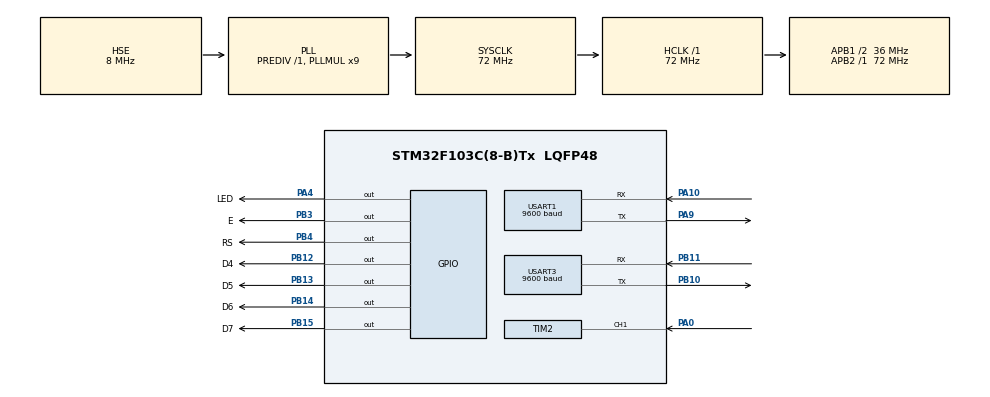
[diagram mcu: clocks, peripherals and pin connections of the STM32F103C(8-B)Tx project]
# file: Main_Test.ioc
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Mcu.Family=STM32F1
Mcu.Name=STM32F103C(8-B)Tx
Mcu.Package=LQFP48
NVIC.PriorityGroup=NVIC_PRIORITYGROUP_4
NVIC.TIM2_IRQn=true\:0\:0\:false\:false\:true\:true\:true
PA0-WKUP.Signal=S_TIM2_CH1_ETR
PA10.Mode=Asynchronous
PA10.Signal=USART1_RX
PA13.Mode=Serial_Wire
PA13.Signal=SYS_JTMS-SWDIO
PA14.Mode=Serial_Wire
PA14.Signal=SYS_JTCK-SWCLK
PA4.GPIO_Label=LED
PA4.Signal=GPIO_Output
PA9.Mode=Asynchronous
PA9.Signal=USART1_TX
PB10.Mode=Asynchronous
PB10.Signal=USART3_TX
PB11.Mode=Asynchronous
PB11.Signal=USART3_RX
PB12.GPIO_Label=D4
PB12.GPIO_Speed=GPIO_SPEED_FREQ_MEDIUM
PB12.Signal=GPIO_Output
PB13.GPIO_Label=D5
PB13.GPIO_Speed=GPIO_SPEED_FREQ_MEDIUM
PB13.Signal=GPIO_Output
PB14.GPIO_Label=D6
PB14.GPIO_Speed=GPIO_SPEED_FREQ_MEDIUM
PB14.Signal=GPIO_Output
PB15.GPIO_Label=D7
PB15.GPIO_Speed=GPIO_SPEED_FREQ_MEDIUM
PB15.Signal=GPIO_Output
PB3.GPIO_Label=E
PB3.GPIO_Speed=GPIO_SPEED_FREQ_MEDIUM
PB3.Signal=GPIO_Output
PB4.GPIO_Label=RS
PB4.GPIO_Speed=GPIO_SPEED_FREQ_MEDIUM
PB4.Signal=GPIO_Output
PD0-OSC_IN.Mode=HSE-External-Oscillator
PD0-OSC_IN.Signal=RCC_OSC_IN
PD1-OSC_OUT.Mode=HSE-External-Oscillator
PD1-OSC_OUT.Signal=RCC_OSC_OUT
ProjectManager.HeapSize=0x200
ProjectManager.StackSize=0x400
ProjectManager.TargetToolchain=MDK-ARM V5
RCC.AHBFreq_Value=72000000
RCC.APB1CLKDivider=RCC_HCLK_DIV2
RCC.APB1Freq_Value=36000000
RCC.APB1TimFreq_Value=72000000
RCC.APB2Freq_Value=72000000
RCC.APB2TimFreq_Value=72000000
RCC.HCLKFreq_Value=72000000
RCC.PLLMUL=RCC_PLL_MUL9
RCC.PLLSourceVirtual=RCC_PLLSOURCE_HSE
RCC.SYSCLKFreq_VALUE=72000000
RCC.SYSCLKSource=RCC_SYSCLKSOURCE_PLLCLK
RCC.USBFreq_Value=72000000
SH.S_TIM2_CH1_ETR.0=TIM2_CH1,Input_Capture1_from_TI1
TIM2.AutoReloadPreload=TIM_AUTORELOAD_PRELOAD_ENABLE
TIM2.Channel-Input_Capture1_from_TI1=TIM_CHANNEL_1
TIM2.ICFilter_CH1=15
TIM2.ICPrescaler-Input_Capture1_from_TI1=TIM_ICPSC_DIV2
TIM2.Prescaler=1
USART1.BaudRate=9600
USART1.VirtualMode=VM_ASYNC
USART3.BaudRate=9600
USART3.VirtualMode=VM_ASYNC
VP_TIM2_VS_ClockSourceINT.Mode=Internal
board=custom

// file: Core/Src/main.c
/* USER CODE BEGIN Header */
/**
  ******************************************************************************
  * @file           : main.c
  * @brief          : Main program body
  ******************************************************************************
  * @attention
  *
  * <h2><center>&copy; Copyright (c) 2021 STMicroelectronics.
  * All rights reserved.</center></h2>
  *
  * This software component is licensed by ST under BSD 3-Clause license,
  * the "License"; You may not use this file except in compliance with the
  * License. You may obtain a copy of the License at:
  *                        opensource.org/licenses/BSD-3-Clause
  *
  ******************************************************************************
  */
/* USER CODE END Header */
#include "main.h"

/* USER CODE BEGIN Includes */

#include <stdio.h>
#include <stdlib.h>
#include <math.h>
#include "lcd16x2.h"

/* USER CODE END Includes */

/* USER CODE BEGIN PD */

#define IDLE   0
#define DONE   1
#define F_CLK  72000000UL
//#define TIM2_ARR 65536
const uint8_t TIM2_ARR = 2;
//#define Timer2_PSC 2
const uint8_t Timer_PSC = 2;
//const uint32_t R1 = 100*1000;
const uint32_t R1 = 96.95*1000;
//const uint32_t R2 = 150*1000;
const uint32_t R2 = 152.12*1000;
//const uint32_t const_Cap = 3300;
const uint32_t const_Cap = 970;
const float cap_0 = 90.97;
const float first_term_landa = 731.97;

/* USER CODE END PD */

TIM_HandleTypeDef htim2;

UART_HandleTypeDef huart1;
UART_HandleTypeDef huart3;

void SystemClock_Config(void);
static void MX_GPIO_Init(void);
static void MX_TIM2_Init(void);
static void MX_USART1_UART_Init(void);
static void MX_USART3_UART_Init(void);

/* USER CODE BEGIN 0 */

//Printf Function BEGIN
#ifdef __GNUC__
#define PUTCHAR_PROTOTYPE int __io_putchar(int ch)
#else
#define PUTCHAR_PROTOTYPE int fputc(int ch, FILE *f)
#endif
PUTCHAR_PROTOTYPE
{
  HAL_UART_Transmit(&huart3, (uint8_t *)&ch, 1, 0xFFFF);
  return ch;
}
//Printf Function END

//Comperator Function BEGIN
int cmpfunc (const void * a, const void * b)
{
   return ( *(uint32_t*)a - *(uint32_t*)b );
}
//Comperator Function END

//Variables BEGIN
volatile uint8_t State = IDLE;
volatile uint32_t T1 = 0;
volatile uint32_t T2 = 0;
volatile uint32_t ticks = 0;
volatile uint16_t TIM2_OVC = 0;
volatile uint32_t freq = 0;
volatile uint32_t temp_freq = 0;
volatile uint32_t used_freq = 0;
volatile uint32_t frequency = 0;
volatile uint32_t sum_frequency = 0;
volatile uint32_t avg_frequency = 0;
volatile uint32_t data_index = 0;
volatile uint8_t indexer = 0;
volatile uint8_t buffer_index = 0;
uint32_t freq_buffer[5];
uint32_t freq_avg[100];
volatile uint8_t avg_index = 0;
volatile float capacitor = 0;
volatile float height = 0;
//Variables END

float Calc_Cap ( uint32_t input_freq )
{
	uint32_t resistor = ( R1 + 2*R2 );
	float cap = (1.44 * pow(10,12) ) / ( input_freq * resistor );
	return cap;
}

float Calc_Height ( float input_cap )
{
	float landa =  (input_cap - const_Cap - cap_0) / first_term_landa;
	return landa*100 ;
}

/* USER CODE END 0 */

int main(void)
{

  /* MCU Configuration--------------------------------------------------------*/

  /* Reset of all peripherals, Initializes the Flash interface and the Systick. */
  HAL_Init();

  /* Configure the system clock */
  SystemClock_Config();

  /* Initialize all configured peripherals */
  MX_GPIO_Init();
  MX_TIM2_Init();
  MX_USART1_UART_Init();
  MX_USART3_UART_Init();
  /* USER CODE BEGIN 2 */

	//Timer Start BEGIN
	HAL_TIM_Base_Start_IT(&htim2);
	HAL_TIM_IC_Start_IT(&htim2,TIM_CHANNEL_1);
	//Timer Start END

	//LCD Init BEGIN
	//lcd16x2_init_4bits(RS_GPIO_Port,RS_Pin,E_Pin,D4_GPIO_Port,D4_Pin,D5_Pin,D6_Pin,D7_Pin);
	//lcd16x2_printf("Hello");
	//HAL_Delay(10000);
	//LCD Init END

  /* USER CODE END 2 */

  /* Infinite loop */
  /* USER CODE BEGIN WHILE */
  while (1)
  {
		used_freq = temp_freq;
		//printf("Used_Freq is: %d Hz ----- \n\r" , used_freq);

		freq_buffer [buffer_index] = used_freq;
		HAL_Delay(1);
		buffer_index++;

		if ( buffer_index == 5 )
		{
			qsort(freq_buffer, 5, sizeof(int), cmpfunc);
			frequency =  ( ( freq_buffer[1] + freq_buffer[2] + freq_buffer[3] ) / 3 );
			//freq_avg[avg_index] = frequency;
			sum_frequency += frequency;
			avg_index++;

			if ( avg_index == 100 )
			{
				data_index++;
				printf("data: %d ----" , data_index);
				avg_frequency = sum_frequency/100;
				printf("avg_frequency is: %d Hz -----" , avg_frequency);
				capacitor = Calc_Cap ( avg_frequency );
				height = Calc_Height ( capacitor );
				printf("capacitor is: %f pF -----" , capacitor);
				printf("height is: %d cm \n\r" , (int)height);
				avg_index = 0;
				sum_frequency = 0;
				HAL_GPIO_TogglePin(LED_GPIO_Port,LED_Pin);
				HAL_Delay(50);
			}

			//printf("frequency is: %d Hz -----" , frequency);
			//capacitor = Calc_Cap ( frequency );
			//height = Calc_Height ( capacitor );
			//printf("capacitor is: %f pF -----" , capacitor);
			//printf("height is: %d cm \n\r" , (int)height);

			buffer_index = 0;
			uint8_t i = 0;
			while ( i < 5 )
			{
				freq_buffer [i] = 0;
				i++;
			}
		}

		//lcd16x2_1stLine();
		//lcd16x2_printf("Temp_Freq is: %f \n\r" , Temp_Freq);
		//lcd16x2_printf("Hello Amir!! \n\r");

		//lcd16x2_clear();

    /* USER CODE END WHILE */

  }
}

void SystemClock_Config(void)
{
  RCC_OscInitTypeDef RCC_OscInitStruct = {0};
  RCC_ClkInitTypeDef RCC_ClkInitStruct = {0};

  /** Initializes the RCC Oscillators according to the specified parameters
  * in the RCC_OscInitTypeDef structure.
  */
  RCC_OscInitStruct.OscillatorType = RCC_OSCILLATORTYPE_HSE;
  RCC_OscInitStruct.HSEState = RCC_HSE_ON;
  RCC_OscInitStruct.HSEPredivValue = RCC_HSE_PREDIV_DIV1;
  RCC_OscInitStruct.HSIState = RCC_HSI_ON;
  RCC_OscInitStruct.PLL.PLLState = RCC_PLL_ON;
  RCC_OscInitStruct.PLL.PLLSource = RCC_PLLSOURCE_HSE;
  RCC_OscInitStruct.PLL.PLLMUL = RCC_PLL_MUL9;
  if (HAL_RCC_OscConfig(&RCC_OscInitStruct) != HAL_OK)
  {
    Error_Handler();
  }
  /** Initializes the CPU, AHB and APB buses clocks
  */
  RCC_ClkInitStruct.ClockType = RCC_CLOCKTYPE_HCLK|RCC_CLOCKTYPE_SYSCLK
                              |RCC_CLOCKTYPE_PCLK1|RCC_CLOCKTYPE_PCLK2;
  RCC_ClkInitStruct.SYSCLKSource = RCC_SYSCLKSOURCE_PLLCLK;
  RCC_ClkInitStruct.AHBCLKDivider = RCC_SYSCLK_DIV1;
  RCC_ClkInitStruct.APB1CLKDivider = RCC_HCLK_DIV2;
  RCC_ClkInitStruct.APB2CLKDivider = RCC_HCLK_DIV1;

  if (HAL_RCC_ClockConfig(&RCC_ClkInitStruct, FLASH_LATENCY_2) != HAL_OK)
  {
    Error_Handler();
  }
}

static void MX_TIM2_Init(void)
{

  TIM_ClockConfigTypeDef sClockSourceConfig = {0};
  TIM_MasterConfigTypeDef sMasterConfig = {0};
  TIM_IC_InitTypeDef sConfigIC = {0};

  htim2.Instance = TIM2;
  htim2.Init.Prescaler = 1;
  htim2.Init.CounterMode = TIM_COUNTERMODE_UP;
  htim2.Init.Period = 65535;
  htim2.Init.ClockDivision = TIM_CLOCKDIVISION_DIV1;
  htim2.Init.AutoReloadPreload = TIM_AUTORELOAD_PRELOAD_ENABLE;
  if (HAL_TIM_Base_Init(&htim2) != HAL_OK)
  {
    Error_Handler();
  }
  sClockSourceConfig.ClockSource = TIM_CLOCKSOURCE_INTERNAL;
  if (HAL_TIM_ConfigClockSource(&htim2, &sClockSourceConfig) != HAL_OK)
  {
    Error_Handler();
  }
  if (HAL_TIM_IC_Init(&htim2) != HAL_OK)
  {
    Error_Handler();
  }
  sMasterConfig.MasterOutputTrigger = TIM_TRGO_RESET;
  sMasterConfig.MasterSlaveMode = TIM_MASTERSLAVEMODE_DISABLE;
  if (HAL_TIMEx_MasterConfigSynchronization(&htim2, &sMasterConfig) != HAL_OK)
  {
    Error_Handler();
  }
  sConfigIC.ICPolarity = TIM_INPUTCHANNELPOLARITY_RISING;
  sConfigIC.ICSelection = TIM_ICSELECTION_DIRECTTI;
  sConfigIC.ICPrescaler = TIM_ICPSC_DIV2;
  sConfigIC.ICFilter = 15;
  if (HAL_TIM_IC_ConfigChannel(&htim2, &sConfigIC, TIM_CHANNEL_1) != HAL_OK)
  {
    Error_Handler();
  }

}

static void MX_USART1_UART_Init(void)
{

  huart1.Instance = USART1;
  huart1.Init.BaudRate = 9600;
  huart1.Init.WordLength = UART_WORDLENGTH_8B;
  huart1.Init.StopBits = UART_STOPBITS_1;
  huart1.Init.Parity = UART_PARITY_NONE;
  huart1.Init.Mode = UART_MODE_TX_RX;
  huart1.Init.HwFlowCtl = UART_HWCONTROL_NONE;
  huart1.Init.OverSampling = UART_OVERSAMPLING_16;
  if (HAL_UART_Init(&huart1) != HAL_OK)
  {
    Error_Handler();
  }

}

static void MX_USART3_UART_Init(void)
{

  huart3.Instance = USART3;
  huart3.Init.BaudRate = 9600;
  huart3.Init.WordLength = UART_WORDLENGTH_8B;
  huart3.Init.StopBits = UART_STOPBITS_1;
  huart3.Init.Parity = UART_PARITY_NONE;
  huart3.Init.Mode = UART_MODE_TX_RX;
  huart3.Init.HwFlowCtl = UART_HWCONTROL_NONE;
  huart3.Init.OverSampling = UART_OVERSAMPLING_16;
  if (HAL_UART_Init(&huart3) != HAL_OK)
  {
    Error_Handler();
  }

}

static void MX_GPIO_Init(void)
{
  GPIO_InitTypeDef GPIO_InitStruct = {0};

  /* GPIO Ports Clock Enable */
  __HAL_RCC_GPIOD_CLK_ENABLE();
  __HAL_RCC_GPIOA_CLK_ENABLE();
  __HAL_RCC_GPIOB_CLK_ENABLE();

  /*Configure GPIO pin Output Level */
  HAL_GPIO_WritePin(LED_GPIO_Port, LED_Pin, GPIO_PIN_RESET);

  /*Configure GPIO pin Output Level */
  HAL_GPIO_WritePin(GPIOB, D4_Pin|D5_Pin|D6_Pin|D7_Pin
                          |E_Pin|RS_Pin, GPIO_PIN_RESET);

  /*Configure GPIO pin : LED_Pin */
  GPIO_InitStruct.Pin = LED_Pin;
  GPIO_InitStruct.Mode = GPIO_MODE_OUTPUT_PP;
  GPIO_InitStruct.Pull = GPIO_NOPULL;
  GPIO_InitStruct.Speed = GPIO_SPEED_FREQ_LOW;
  HAL_GPIO_Init(LED_GPIO_Port, &GPIO_InitStruct);

  /*Configure GPIO pins : D4_Pin D5_Pin D6_Pin D7_Pin
                           E_Pin RS_Pin */
  GPIO_InitStruct.Pin = D4_Pin|D5_Pin|D6_Pin|D7_Pin
                          |E_Pin|RS_Pin;
  GPIO_InitStruct.Mode = GPIO_MODE_OUTPUT_PP;
  GPIO_InitStruct.Pull = GPIO_NOPULL;
  GPIO_InitStruct.Speed = GPIO_SPEED_FREQ_MEDIUM;
  HAL_GPIO_Init(GPIOB, &GPIO_InitStruct);

}

/* USER CODE BEGIN 4 */

//Input Capture BEGIN

void HAL_TIM_IC_CaptureCallback(TIM_HandleTypeDef* htim)
{
	if (State == IDLE)
	{
		T1 = TIM2->CCR1;
		TIM2_OVC = 0;
		State = DONE;
	}
	else if(State == DONE)
	{
		T2 = TIM2->CCR1;
		ticks = ( T2 + ( TIM2_OVC * TIM2_ARR ) ) - T1;
		freq = ( (F_CLK/Timer_PSC) /ticks );

		if(freq != 0)
		{
			temp_freq = freq;
			indexer++;
		}
		State = IDLE;
	}
}

//Input Capture END

//OVC TIMER BEGIN

void HAL_TIM_PeriodElapsedCallback(TIM_HandleTypeDef* htim)
{
	TIM2_OVC++;
}

//OVC TIMER END

/* USER CODE END 4 */

void Error_Handler(void)
{
  __disable_irq();
  while (1)
  {
  }
}

/************************ (C) COPYRIGHT STMicroelectronics *****END OF FILE****/
